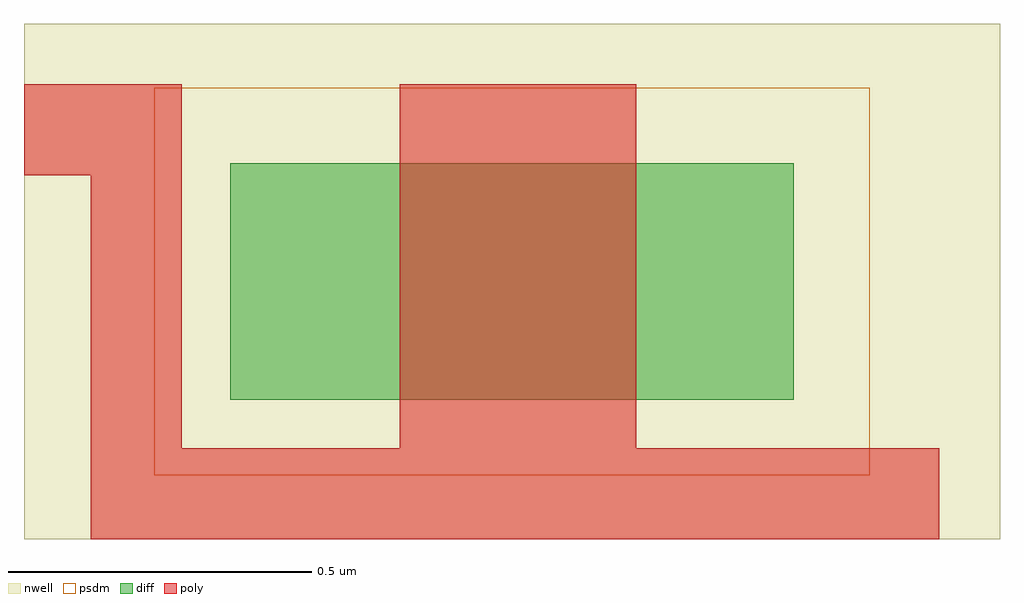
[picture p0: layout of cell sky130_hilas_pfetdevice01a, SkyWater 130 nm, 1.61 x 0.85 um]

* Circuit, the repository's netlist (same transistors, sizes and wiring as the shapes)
* Copyright 2020 The Hilas PDK Authors
* 
* This file is part of HILAS.
* 
* HILAS is free software: you can redistribute it and/or modify
* it under the terms of the GNU Lesser General Public License as published by
* the Free Software Foundation, version 3 of the License.
* 
* HILAS is distributed in the hope that it will be useful,
* but WITHOUT ANY WARRANTY; without even the implied warranty of
* MERCHANTABILITY or FITNESS FOR A PARTICULAR PURPOSE.  See the
* GNU Lesser General Public License for more details.
* 
* You should have received a copy of the GNU Lesser General Public License
* along with HILAS.  If not, see <https://www.gnu.org/licenses/>.
* 
* Licensed under the Lesser General Public License, Version 3.0 (the "License");
* you may not use this file except in compliance with the License.
* You may obtain a copy of the License at
* 
* https://www.gnu.org/licenses/lgpl-3.0.en.html
* 
* Unless required by applicable law or agreed to in writing, software
* distributed under the License is distributed on an "AS IS" BASIS,
* WITHOUT WARRANTIES OR CONDITIONS OF ANY KIND, either express or implied.
* See the License for the specific language governing permissions and
* limitations under the License.
* 
* SPDX-License-Identifier: LGPL-3.0
* 
* 

* NGSPICE file created from sky130_hilas_pFETdevice01a.ext - technology: sky130A


* Top level circuit sky130_hilas_pFETdevice01a

X0 a_42_n38# a_n160_36# a_n92_n38# w_n160_n84# sky130_fd_pr__pfet_01v8 w=390000u l=390000u
.end

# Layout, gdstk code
import gdstk
lib = gdstk.Library(unit=1e-6, precision=1e-09)
def R(c, l, rs):  # rectangles x0, y0, x1, y1
    for r in rs: c.add(gdstk.rectangle(r[:2], r[2:], *l))
nwell = (64, 20)
diff = (65, 20)
poly = (66, 20)
psdm = (94, 20)

sky130_hilas_pfetdevice0 = lib.new_cell('sky130_hilas_pfetdevice01a')
R(sky130_hilas_pfetdevice0, nwell, [(-0.8,-0.42,0.81,0.43)])
R(sky130_hilas_pfetdevice0, diff, [(-0.46,-0.19,0.47,0.2)])
R(sky130_hilas_pfetdevice0, poly, [(-0.69,-0.42,0.71,-0.27), (-0.69,-0.27,-0.54,0.18), (-0.18,-0.27,0.21,0.33), (-0.8,0.18,-0.54,0.33)])
R(sky130_hilas_pfetdevice0, psdm, [(-0.585,-0.315,0.595,0.325)])

lib.write_gds('sky130_hilas_pfetdevice01a.gds')
